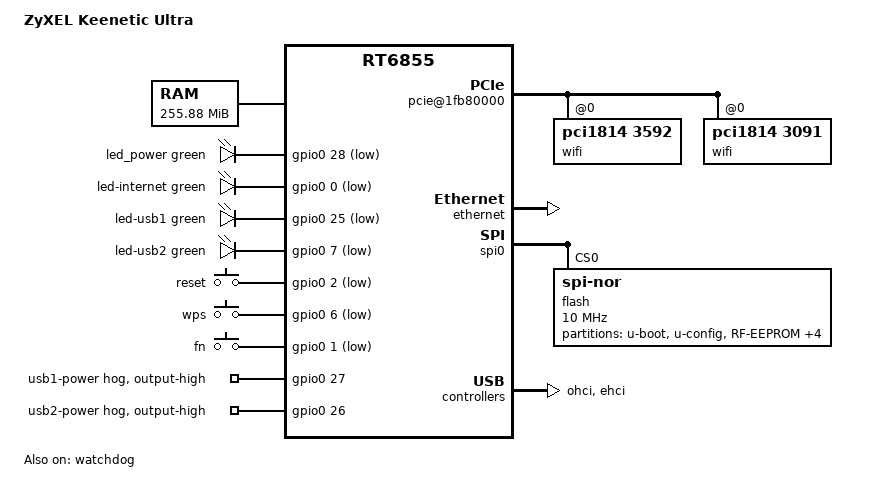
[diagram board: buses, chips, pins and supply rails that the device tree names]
// SPDX-License-Identifier: GPL-2.0-or-later OR MIT
/dts-v1/;

#include <dt-bindings/gpio/gpio.h>
#include <dt-bindings/input/input.h>
#include <dt-bindings/leds/common.h>

#include "rt6855.dtsi"

/ {
	compatible = "zyxel,keenetic-ultra", "ralink,rt6855-soc";
	model = "ZyXEL Keenetic Ultra";

	aliases {
		led-boot = &led_power;
		led-failsafe = &led_power;
		led-running = &led_power;
		led-upgrade = &led_power;
	};

	memory@0 {
		device_type = "memory";
		reg = <0x00020000 0x0ffe0000>;
	};

	chosen {
		bootargs = "console=ttyS0,57600";
	};

	leds {
		compatible = "gpio-leds";

		led_power: led-power {
			function = LED_FUNCTION_POWER;
			color = <LED_COLOR_ID_GREEN>;
			gpios = <&gpio0 28 GPIO_ACTIVE_LOW>;
		};

		led-internet {
			function = LED_FUNCTION_WAN;
			color = <LED_COLOR_ID_GREEN>;
			gpios = <&gpio0 0 GPIO_ACTIVE_LOW>;
		};

		led-usb1 {
			function = LED_FUNCTION_USB;
			function-enumerator = <1>;
			color = <LED_COLOR_ID_GREEN>;
			gpios = <&gpio0 25 GPIO_ACTIVE_LOW>;
			trigger-sources = <&ohci_port1>, <&ehci_port1>;
			linux,default-trigger = "usbport";
		};

		led-usb2 {
			function = LED_FUNCTION_USB;
			function-enumerator = <2>;
			color = <LED_COLOR_ID_GREEN>;
			gpios = <&gpio0 7 GPIO_ACTIVE_LOW>;
			trigger-sources = <&ohci_port2>, <&ehci_port2>;
			linux,default-trigger = "usbport";
		};
	};

	keys {
		compatible = "gpio-keys-polled";
		poll-interval = <20>;

		button-reset {
			label = "reset";
			gpios = <&gpio0 2 GPIO_ACTIVE_LOW>;
			linux,code = <KEY_RESTART>;
		};

		button-wlan {
			label = "wps";
			gpios = <&gpio0 6 GPIO_ACTIVE_LOW>;
			linux,code = <KEY_WPS_BUTTON>;
		};

		button-fn {
			label = "fn";
			gpios = <&gpio0 1 GPIO_ACTIVE_LOW>;
			linux,code = <KEY_LIGHTS_TOGGLE>;
		};
	};

	pcie@1fb80000 {
		compatible = "ralink,rt6855-pci";
		device_type = "pci";
		reg = <0x1fb80000 0x10000>;
		#address-cells = <3>;
		#size-cells = <2>;
		bus-range = <0 2>;
		ralink,syscon = <&sysc>;
		ralink,pcie-reset-syscon = <&pcie_reset>;
		ranges = <0x01000000 0 0x00000000 0x1f600000 0 0x00010000>,
			 <0x02000000 0 0x20000000 0x20000000 0 0x10000000>;

		pcie@0,0 {
			device_type = "pci";
			reg = <0x00000000 0 0 0 0>;
			#address-cells = <3>;
			#size-cells = <2>;
			#interrupt-cells = <1>;
			ranges;
			interrupt-map-mask = <0 0 0 0>;
			interrupt-map = <0 0 0 0 &intc 24>;

			wifi@0,0 {
				compatible = "pci1814,3592";
				reg = <0x00000000 0 0 0 0>;
				nvmem-cells = <&eeprom_5ghz>;
				nvmem-cell-names = "eeprom";
				ieee80211-freq-limit = <5000000 6000000>;
			};
		};

		pcie@1,0 {
			device_type = "pci";
			reg = <0x00000800 0 0 0 0>;
			#address-cells = <3>;
			#size-cells = <2>;
			#interrupt-cells = <1>;
			ranges;
			interrupt-map-mask = <0 0 0 0>;
			interrupt-map = <0 0 0 0 &intc 23>;

			wifi@0,0 {
				compatible = "pci1814,3091";
				reg = <0x00000000 0 0 0 0>;
				nvmem-cells = <&eeprom_2ghz>;
				nvmem-cell-names = "eeprom";
				ieee80211-freq-limit = <2400000 2500000>;
				ralink,direct-led-control;
			};
		};
	};

	rtl8367b: rtl8367b {
		compatible = "realtek,rtl8367b";
		mii-bus = <&mdio0>;
		realtek,init-regs = <0x1303 0x0778>,
				    <0x1304 0x7777>,
				    <0x13e2 0x01fe>,
				    <0x1b03 0x0222>;
		/* CPU port 6, RGMII, forced 1G/full/pause, TX delay 1, RX delay 2. */
		realtek,extif = <6 1 2 1 1 1 1 1 1 2>;
	};
};

&gpio0 {
	status = "okay";

	usb1-power-hog {
		gpio-hog;
		gpios = <27 GPIO_ACTIVE_HIGH>;
		output-high;
		line-name = "usb1-power";
	};

	usb2-power-hog {
		gpio-hog;
		gpios = <26 GPIO_ACTIVE_HIGH>;
		output-high;
		line-name = "usb2-power";
	};
};

&watchdog {
	status = "okay";
};

&ethernet {
	status = "okay";

	nvmem-cells = <&macaddr_factory_4>;
	nvmem-cell-names = "mac-address";

	mdio0: mdio-bus {
		#address-cells = <1>;
		#size-cells = <0>;
		status = "okay";
	};
};

&spi0 {
	status = "okay";

	flash@0 {
		compatible = "jedec,spi-nor";
		reg = <0>;
		spi-max-frequency = <10000000>;

		partitions {
			compatible = "fixed-partitions";
			#address-cells = <1>;
			#size-cells = <1>;

			partition@0 {
				label = "u-boot";
				reg = <0x000000 0x030000>;
				read-only;
			};

			partition@30000 {
				label = "u-config";
				reg = <0x030000 0x010000>;
				read-only;
			};

			factory: partition@40000 {
				label = "RF-EEPROM";
				reg = <0x040000 0x010000>;
				read-only;

				nvmem-layout {
					compatible = "fixed-layout";
					#address-cells = <1>;
					#size-cells = <1>;

					eeprom_2ghz: eeprom@0 {
						reg = <0x0000 0x0200>;
					};

					macaddr_factory_4: macaddr@4 {
						reg = <0x0004 0x0006>;
					};

					eeprom_5ghz: eeprom@8000 {
						reg = <0x8000 0x0200>;
					};
				};
			};

			firmware: partition@50000 {
				compatible = "openwrt,uimage", "denx,uimage";
				label = "firmware";
				/*
				 * Keep the final eraseblock outside rootfs_data:
				 * ZyXEL factory images store their trailer there.
				 */
				reg = <0x050000 0xe90000>;
			};

			partition@ef0000 {
				label = "config";
				reg = <0xef0000 0x010000>;
				read-only;
			};

			partition@f00000 {
				label = "storage";
				reg = <0xf00000 0x0f0000>;
				read-only;
			};

			partition@ff0000 {
				label = "dump";
				reg = <0xff0000 0x010000>;
				read-only;
			};
		};
	};
};

&ohci {
	status = "okay";

	ohci_port1: port@1 {
		reg = <1>;
		#trigger-source-cells = <0>;
	};

	ohci_port2: port@2 {
		reg = <2>;
		#trigger-source-cells = <0>;
	};
};

&ehci {
	status = "okay";

	ehci_port1: port@1 {
		reg = <1>;
		#trigger-source-cells = <0>;
	};

	ehci_port2: port@2 {
		reg = <2>;
		#trigger-source-cells = <0>;
	};
};
